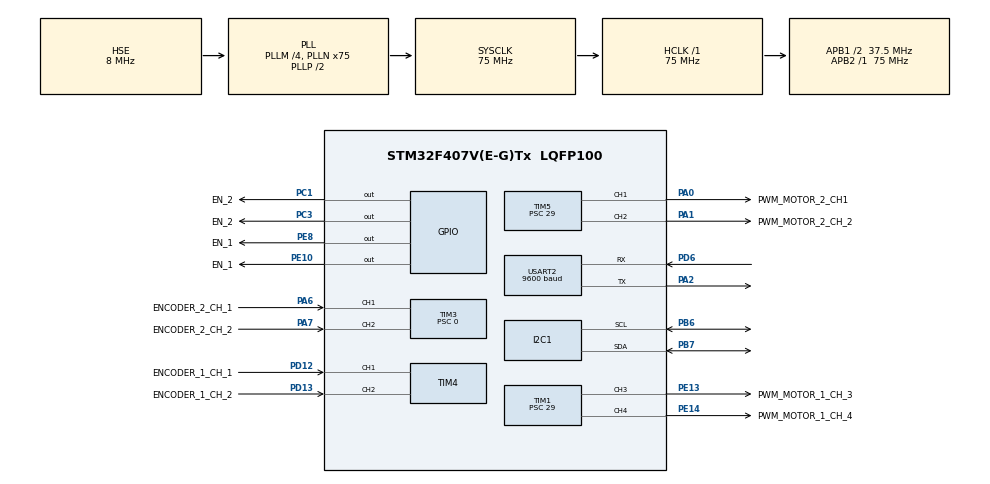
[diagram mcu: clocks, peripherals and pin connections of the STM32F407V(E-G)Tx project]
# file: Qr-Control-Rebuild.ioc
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I2C1.I2C_Mode=I2C_Fast
Mcu.Family=STM32F4
Mcu.Name=STM32F407V(E-G)Tx
Mcu.Package=LQFP100
NVIC.PriorityGroup=NVIC_PRIORITYGROUP_4
NVIC.TIM2_IRQn=true\:1\:0\:true\:false\:true\:true\:true\:true
NVIC.USART2_IRQn=true\:0\:0\:true\:false\:true\:true\:true\:true
PA0-WKUP.GPIO_Label=PWM_MOTOR_2_CH1
PA0-WKUP.Signal=S_TIM5_CH1
PA1.GPIO_Label=PWM_MOTOR_2_CH_2
PA1.Signal=S_TIM5_CH2
PA13.Mode=Serial_Wire
PA13.Signal=SYS_JTMS-SWDIO
PA14.Mode=Serial_Wire
PA14.Signal=SYS_JTCK-SWCLK
PA2.Mode=Asynchronous
PA2.Signal=USART2_TX
PA6.GPIO_Label=ENCODER_2_CH_1
PA6.Signal=S_TIM3_CH1
PA7.GPIO_Label=ENCODER_2_CH_2
PA7.Signal=S_TIM3_CH2
PB6.Mode=I2C
PB6.Signal=I2C1_SCL
PB7.Mode=I2C
PB7.Signal=I2C1_SDA
PC1.GPIO_Label=EN_2
PC1.Signal=GPIO_Output
PC3.GPIO_Label=EN_2
PC3.Signal=GPIO_Output
PD12.GPIO_Label=ENCODER_1_CH_1
PD12.Signal=S_TIM4_CH1
PD13.GPIO_Label=ENCODER_1_CH_2
PD13.Signal=S_TIM4_CH2
PD6.Mode=Asynchronous
PD6.Signal=USART2_RX
PE10.GPIO_Label=EN_1
PE10.Signal=GPIO_Output
PE13.GPIO_Label=PWM_MOTOR_1_CH_3
PE13.Signal=S_TIM1_CH3
PE14.GPIO_Label=PWM_MOTOR_1_CH_4
PE14.Signal=S_TIM1_CH4
PE8.GPIO_Label=EN_1
PE8.Signal=GPIO_Output
PH0-OSC_IN.Mode=HSE-External-Oscillator
PH0-OSC_IN.Signal=RCC_OSC_IN
PH1-OSC_OUT.Mode=HSE-External-Oscillator
PH1-OSC_OUT.Signal=RCC_OSC_OUT
ProjectManager.HeapSize=0x200
ProjectManager.StackSize=0x400
ProjectManager.TargetToolchain=STM32CubeIDE
RCC.48MHZClocksFreq_Value=37500000
RCC.AHBFreq_Value=75000000
RCC.APB1CLKDivider=RCC_HCLK_DIV2
RCC.APB1Freq_Value=37500000
RCC.APB1TimFreq_Value=75000000
RCC.APB2Freq_Value=75000000
RCC.APB2TimFreq_Value=75000000
RCC.CortexFreq_Value=75000000
RCC.HCLKFreq_Value=75000000
RCC.HSE_VALUE=8000000
RCC.HSI_VALUE=16000000
RCC.LSE_VALUE=32768
RCC.PLLM=4
RCC.PLLN=75
RCC.PLLSourceVirtual=RCC_PLLSOURCE_HSE
RCC.SYSCLKFreq_VALUE=75000000
RCC.SYSCLKSource=RCC_SYSCLKSOURCE_PLLCLK
RCC.VCOOutputFreq_Value=150000000
SH.S_TIM1_CH3.0=TIM1_CH3,PWM Generation3 CH3
SH.S_TIM1_CH4.0=TIM1_CH4,PWM Generation4 CH4
SH.S_TIM3_CH1.0=TIM3_CH1,Encoder_Interface
SH.S_TIM3_CH2.0=TIM3_CH2,Encoder_Interface
SH.S_TIM4_CH1.0=TIM4_CH1,Encoder_Interface
SH.S_TIM4_CH2.0=TIM4_CH2,Encoder_Interface
SH.S_TIM5_CH1.0=TIM5_CH1,PWM Generation1 CH1
SH.S_TIM5_CH2.0=TIM5_CH2,PWM Generation2 CH2
TIM1.AutoReloadPreload=TIM_AUTORELOAD_PRELOAD_ENABLE
TIM1.Channel-PWM\ Generation3\ CH3=TIM_CHANNEL_3
TIM1.Channel-PWM\ Generation4\ CH4=TIM_CHANNEL_4
TIM1.CounterMode=TIM_COUNTERMODE_CENTERALIGNED3
TIM1.Period=99
TIM1.Prescaler=29
TIM2.Period=499
TIM2.Prescaler=749
TIM3.AutoReloadPreload=TIM_AUTORELOAD_PRELOAD_DISABLE
TIM3.CounterMode=TIM_COUNTERMODE_UP
TIM3.EncoderMode=TIM_ENCODERMODE_TI12
TIM3.IC1Filter=10
TIM3.IC2Filter=10
TIM3.Period=65535
TIM3.Prescaler=0
TIM4.AutoReloadPreload=TIM_AUTORELOAD_PRELOAD_DISABLE
TIM4.EncoderMode=TIM_ENCODERMODE_TI12
TIM4.IC1Filter=10
TIM4.IC2Filter=10
TIM5.Channel-PWM\ Generation1\ CH1=TIM_CHANNEL_1
TIM5.Channel-PWM\ Generation2\ CH2=TIM_CHANNEL_2
TIM5.CounterMode=TIM_COUNTERMODE_CENTERALIGNED3
TIM5.Period=99
TIM5.Prescaler=29
USART2.BaudRate=9600
USART2.OverSampling=UART_OVERSAMPLING_16
USART2.VirtualMode=VM_ASYNC
VP_TIM2_VS_ClockSourceINT.Mode=Internal
VP_TIM5_VS_ClockSourceINT.Mode=Internal
board=custom

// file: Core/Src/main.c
/* USER CODE BEGIN Header */
/**
 ******************************************************************************
 * @file           : main.c
 * @brief          : Main program body
 ******************************************************************************
 * @attention
 *
 * Copyright (c) 2023 STMicroelectronics.
 * All rights reserved.
 *
 * This software is licensed under terms that can be found in the LICENSE file
 * in the root directory of this software component.
 * If no LICENSE file comes with this software, it is provided AS-IS.
 *
 ******************************************************************************
 */
/* USER CODE END Header */
#include "main.h"
#include "i2c.h"
#include "tim.h"
#include "usart.h"
#include "gpio.h"

/* USER CODE BEGIN Includes */
#include <stdio.h>
#include <stdint.h>
#include <string.h>
#include <stdlib.h>

#include "pid.h"
#include "utils.h"
#include "motor.h"
#include "../MPU6050/mpu6050.h"
/* USER CODE END Includes */

/* USER CODE BEGIN PV */
#define SAMPLE_STRING "0360,0045,0045,1,0"
#define ARRAY_CHECKER "1111,1111,1111,1,1"
#define MAX_LEN_DATA 18
void SerialInit(void);
void SerialAcceptReceive(void);

void MotorMovePos(PROFILE_t *tProfile, PID_CONTROL_t *tPIDControl1, PID_CONTROL_t *tPIDControl2,Motor_t *tmotor1, Motor_t *tmotor2, uint8_t dir1, uint8_t dir2);

#define GO_AHEAD 1
#define GO_BACK 0
/* USER CODE END PV */

void SystemClock_Config(void);

/* USER CODE BEGIN 0 */
char dataBuffer[MAX_LEN_DATA];

MPU6050_t MPU6050;

uint32_t g_nCmdPulse;
float g_dCmdVel;

uint32_t nPulse1;
uint32_t nPulse2;

uint8_t tProcess;
ArrData_t arrData1;

uint8_t dir1, dir2;
char statusOK[] = "OK\r\n";
char result[100];

int32_t dutyCycle_global_1 = 0,  dutyCycle_global_2 = 0;

/* USER CODE END 0 */

int main(void)
{

  /* MCU Configuration--------------------------------------------------------*/

  /* Reset of all peripherals, Initializes the Flash interface and the Systick. */
  HAL_Init();

  /* Configure the system clock */
  SystemClock_Config();

  /* Initialize all configured peripherals */
  MX_GPIO_Init();
  MX_TIM2_Init();
  MX_TIM3_Init();
  MX_TIM5_Init();
  MX_TIM1_Init();
  MX_USART2_UART_Init();
  MX_TIM4_Init();
  MX_I2C1_Init();
  /* USER CODE BEGIN 2 */
  while (MPU6050_Init(&hi2c1) == 1);
  SerialInit();
  MotorInit();
  MotorSetRun();

  tProcess = NONE;

  tMotor1.ptd = 0.091; //2700
  tMotor2.ptd = 0.096; //2580

  /* USER CODE END 2 */

  /* Infinite loop */
  while (1)
  {

  }
}

void SystemClock_Config(void)
{
  RCC_OscInitTypeDef RCC_OscInitStruct = {0};
  RCC_ClkInitTypeDef RCC_ClkInitStruct = {0};

  /** Configure the main internal regulator output voltage
  */
  __HAL_RCC_PWR_CLK_ENABLE();
  __HAL_PWR_VOLTAGESCALING_CONFIG(PWR_REGULATOR_VOLTAGE_SCALE1);

  /** Initializes the RCC Oscillators according to the specified parameters
  * in the RCC_OscInitTypeDef structure.
  */
  RCC_OscInitStruct.OscillatorType = RCC_OSCILLATORTYPE_HSE;
  RCC_OscInitStruct.HSEState = RCC_HSE_ON;
  RCC_OscInitStruct.PLL.PLLState = RCC_PLL_ON;
  RCC_OscInitStruct.PLL.PLLSource = RCC_PLLSOURCE_HSE;
  RCC_OscInitStruct.PLL.PLLM = 4;
  RCC_OscInitStruct.PLL.PLLN = 75;
  RCC_OscInitStruct.PLL.PLLP = RCC_PLLP_DIV2;
  RCC_OscInitStruct.PLL.PLLQ = 4;
  if (HAL_RCC_OscConfig(&RCC_OscInitStruct) != HAL_OK)
  {
    Error_Handler();
  }

  /** Initializes the CPU, AHB and APB buses clocks
  */
  RCC_ClkInitStruct.ClockType = RCC_CLOCKTYPE_HCLK|RCC_CLOCKTYPE_SYSCLK
                              |RCC_CLOCKTYPE_PCLK1|RCC_CLOCKTYPE_PCLK2;
  RCC_ClkInitStruct.SYSCLKSource = RCC_SYSCLKSOURCE_PLLCLK;
  RCC_ClkInitStruct.AHBCLKDivider = RCC_SYSCLK_DIV1;
  RCC_ClkInitStruct.APB1CLKDivider = RCC_HCLK_DIV2;
  RCC_ClkInitStruct.APB2CLKDivider = RCC_HCLK_DIV1;

  if (HAL_RCC_ClockConfig(&RCC_ClkInitStruct, FLASH_LATENCY_2) != HAL_OK)
  {
    Error_Handler();
  }
}

/* USER CODE BEGIN 4 */
void SerialInit(void)
{
  HAL_UART_Receive_IT(&huart2, (uint8_t *)dataBuffer, MAX_LEN_DATA);
}

// receive data
void SerialAcceptReceive(void)
{
  HAL_UART_Receive_IT(&huart2, (uint8_t *)dataBuffer, MAX_LEN_DATA);
}

// interupt uart RX
void HAL_UART_RxCpltCallback(UART_HandleTypeDef *huart)
{
  if (huart->Instance == huart2.Instance)
  {

    	__HAL_TIM_SetCounter(&htim3, 0);
	    __HAL_TIM_SetCounter(&htim4, 0);
	    tProcess = NONE;
	    PIDReset(&tPID_1);
	    PIDReset(&tPID_2);

	    if(!strcmp(dataBuffer, ARRAY_CHECKER)){
	    	HAL_UART_Transmit(&huart2, (uint8_t *)statusOK, sizeof(statusOK), 1000);
	    }
	    else {
	        HAL_UART_Transmit(&huart2, (uint8_t *)dataBuffer, MAX_LEN_DATA, 1000);
	    	    arrData1 = ArrProcess(dataBuffer);
	    	    MotorTrapzoidalInit(&tProfile, arrData1.pos1, arrData1.vel1, arrData1.acc1);
	    	    dir1 = arrData1.dir1;
	    	    dir2 = arrData1.dir2;

	    	    tProcess = RUN_TEST;

	    	        if (dir1 == HEAD)
	    	        {
	    	        	//Motor1Forward();
	    	        	tMotor1.dir = HEAD;
	    	        }
	    	        else
	    	        {
	    	        	//Motor1Backward();
	    	        	tMotor1.dir = BACK;
	    	        }
	    	        if (dir2 == HEAD)
	    	        {
	    	        	//Motor2Forward();
	    	        	tMotor2.dir = HEAD;
	    	        }
	    	        else
	    	        {
	    	        	//Motor2Backward();
	    	        	tMotor2.dir = BACK;
	    	        }
	    }
	    SerialAcceptReceive();
  }
}

/* Reset of all peripherals, Initializes the Flash interface and the Systick. */
void HAL_TIM_PeriodElapsedCallback(TIM_HandleTypeDef *htim)
{

  if (htim->Instance == htim2.Instance)
  {
    switch (tProcess)
    {
    case NONE:
    	MPU6050_Read_All(&hi2c1, &MPU6050);
    	break;
    case RUN_TEST:
    	MotorSetRun();
    	ReadEncoder(&tMotor1, &htim4);
    	ReadEncoder(&tMotor2, &htim3);
    	MPU6050_Read_All(&hi2c1, &MPU6050);
    	MotorMovePos(&tProfile, &tPID_1, &tPID_2, &tMotor1, &tMotor2, dir1, dir2);
    }
  }
}

void MotorMovePos(PROFILE_t *tProfile, PID_CONTROL_t *tPIDControl1, PID_CONTROL_t *tPIDControl2,Motor_t *tmotor1, Motor_t *tmotor2, uint8_t dir1, uint8_t dir2)
{
  int32_t g_nDutyCycle_1, g_nDutyCycle_2;

  float dPosTemp = 0;

  // Profile trapezoidal Speed
  if (tProfile->nTime <= tProfile->dMidStep1)
  {
    dPosTemp = (int32_t)(tProfile->dA1 * tProfile->nTime * tProfile->nTime);
    g_dCmdVel = 2 * tProfile->dA1 * tProfile->nTime;
  }
  else if (tProfile->nTime <= tProfile->dMidStep2)
  {
    dPosTemp = (int32_t)(tProfile->dA2 * tProfile->nTime + tProfile->dB2);
    g_dCmdVel = tProfile->dA2;
  }
  else if (tProfile->nTime <= tProfile->dMidStep3)
  {
    dPosTemp = (int32_t)(tProfile->dA3 * tProfile->nTime * tProfile->nTime + tProfile->dB3 * tProfile->nTime + tProfile->dC3);
    g_dCmdVel = 2 * tProfile->dA3 * tProfile->nTime + tProfile->dB3;
  }
  else
  {
    dPosTemp = tProfile->dPosMax;
  }

  // Control PID
  if(tMotor1.dir == tMotor2.dir)
  	{
	 g_nDutyCycle_1 = (int16_t)PIDCompute(tPIDControl1, g_dCmdVel + MPU6050.Gz, tMotor1.velocity, SAMPLING_TIME);
	  g_nDutyCycle_2 = (int16_t)(PIDCompute(tPIDControl2, g_dCmdVel - MPU6050.Gz, tMotor2.velocity, SAMPLING_TIME));
	}
  else
  {
  g_nDutyCycle_1 = (int16_t)PIDCompute(tPIDControl1, g_dCmdVel, tMotor1.velocity, SAMPLING_TIME);
  g_nDutyCycle_2 = (int16_t)(PIDCompute(tPIDControl2, g_dCmdVel, tMotor2.velocity, SAMPLING_TIME));
  }

  if (g_nDutyCycle_1 > 0)
  {
  	Motor1Forward();
  	MotorSetDuty(abs(g_nDutyCycle_1), MOTOR_1);
  }
  else
  {
  	Motor1Backward();
  	MotorSetDuty(abs(g_nDutyCycle_1), MOTOR_1);
  }
  if (g_nDutyCycle_2 > 0)
  {
  	Motor2Forward();
  	MotorSetDuty(abs(g_nDutyCycle_2), MOTOR_2);
  }
  else
  {
  	Motor2Backward();
  	MotorSetDuty(abs(g_nDutyCycle_2), MOTOR_2);;
  }

//  double real[7] = {tmotor1->velocity, tmotor2->velocity,  g_dCmdVel, tmotor1->position, tmotor2->position, dPosTemp, MPU6050.yaw};
//  strcpy(result, "=");
//  for (int i = 0; i < 7; i++) {
//        char buffer[25];
//        snprintf(buffer, sizeof(buffer), "%.2f", creal(real[i]));
//        strcat(result, buffer);
//
//        if (i < 6) {
//            strcat(result, ",");
//        }
//    }
//  strcat(result, "!");
//  HAL_UART_Transmit(&huart2, (uint8_t *)result, sizeof(result), 100);

  if (tProfile->nTime > tProfile->dMidStep3)
  {
    __HAL_TIM_SetCounter(&htim4, 0);
    __HAL_TIM_SetCounter(&htim3, 0);
    dPosTemp = 0;
    g_nDutyCycle_1 = 0;
    g_nDutyCycle_2 = 0;
    g_dCmdVel = 0;
    tProfile->nTime = 0;
    tProcess = NONE;
    MotorSetDuty(0, MOTOR_1);
    MotorSetDuty(0, MOTOR_2);
    tmotor1->velocity = 0;
    tmotor2->velocity = 0;
    tmotor1->position = 0;
    tmotor2->position = 0;
    tmotor1->counter = 0;
    tmotor2->counter = 0;
    PIDReset(&tPID_2);
    PIDReset(&tPID_1);
    if(tProfile->dMidStep3 < 2.0f)
    {
    for(uint64_t i = 0; i < 5000000; i++){};
    }
    HAL_UART_Transmit(&huart2, (uint8_t *)statusOK, sizeof(statusOK), 1000);
    MPU6050.yaw = 0.0f;
    tProcess = NONE;
  }
  tProfile->nTime += SAMPLING_TIME;
}

/* USER CODE END 4 */

void Error_Handler(void)
{
  __disable_irq();
  while (1)
  {
  }
}
